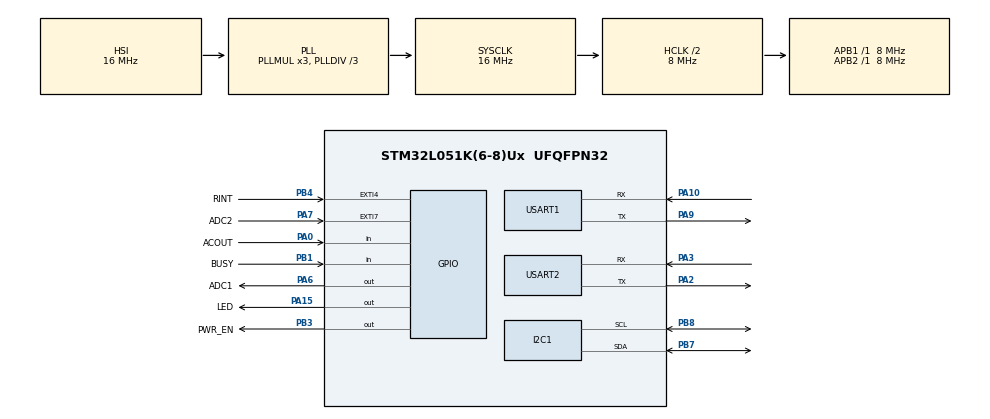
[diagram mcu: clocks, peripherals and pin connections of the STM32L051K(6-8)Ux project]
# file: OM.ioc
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Dma.Request0=USART2_RX
Dma.Request1=USART2_TX
Dma.Request2=USART1_RX
Dma.Request3=USART1_TX
Dma.USART1_RX.2.Direction=DMA_PERIPH_TO_MEMORY
Dma.USART1_RX.2.Instance=DMA1_Channel3
Dma.USART1_RX.2.MemDataAlignment=DMA_MDATAALIGN_BYTE
Dma.USART1_RX.2.MemInc=DMA_MINC_ENABLE
Dma.USART1_RX.2.Mode=DMA_NORMAL
Dma.USART1_RX.2.PeriphDataAlignment=DMA_PDATAALIGN_BYTE
Dma.USART1_RX.2.PeriphInc=DMA_PINC_DISABLE
Dma.USART1_RX.2.Priority=DMA_PRIORITY_LOW
Dma.USART1_TX.3.Direction=DMA_MEMORY_TO_PERIPH
Dma.USART1_TX.3.Instance=DMA1_Channel2
Dma.USART1_TX.3.MemDataAlignment=DMA_MDATAALIGN_BYTE
Dma.USART1_TX.3.MemInc=DMA_MINC_ENABLE
Dma.USART1_TX.3.Mode=DMA_NORMAL
Dma.USART1_TX.3.PeriphDataAlignment=DMA_PDATAALIGN_BYTE
Dma.USART1_TX.3.PeriphInc=DMA_PINC_DISABLE
Dma.USART1_TX.3.Priority=DMA_PRIORITY_LOW
Dma.USART2_RX.0.Direction=DMA_PERIPH_TO_MEMORY
Dma.USART2_RX.0.Instance=DMA1_Channel5
Dma.USART2_RX.0.MemDataAlignment=DMA_MDATAALIGN_BYTE
Dma.USART2_RX.0.MemInc=DMA_MINC_ENABLE
Dma.USART2_RX.0.Mode=DMA_NORMAL
Dma.USART2_RX.0.PeriphDataAlignment=DMA_PDATAALIGN_BYTE
Dma.USART2_RX.0.PeriphInc=DMA_PINC_DISABLE
Dma.USART2_RX.0.Priority=DMA_PRIORITY_LOW
Dma.USART2_TX.1.Direction=DMA_MEMORY_TO_PERIPH
Dma.USART2_TX.1.Instance=DMA1_Channel4
Dma.USART2_TX.1.MemDataAlignment=DMA_MDATAALIGN_BYTE
Dma.USART2_TX.1.MemInc=DMA_MINC_ENABLE
Dma.USART2_TX.1.Mode=DMA_NORMAL
Dma.USART2_TX.1.PeriphDataAlignment=DMA_PDATAALIGN_BYTE
Dma.USART2_TX.1.PeriphInc=DMA_PINC_DISABLE
Dma.USART2_TX.1.Priority=DMA_PRIORITY_LOW
I2C1.Timing=0x2000090E
Mcu.Family=STM32L0
Mcu.Name=STM32L051K(6-8)Ux
Mcu.Package=UFQFPN32
NVIC.DMA1_Channel2_3_IRQn=true\:0\:0\:false\:false\:true\:false\:true
NVIC.DMA1_Channel4_5_6_7_IRQn=true\:0\:0\:false\:false\:true\:false\:true
NVIC.EXTI4_15_IRQn=true\:0\:0\:false\:false\:true\:true\:true
NVIC.I2C1_IRQn=true\:0\:0\:false\:false\:true\:true\:true
NVIC.RTC_IRQn=true\:0\:0\:false\:false\:true\:true\:true
NVIC.TIM2_IRQn=true\:0\:0\:false\:false\:true\:true\:true
NVIC.USART1_IRQn=true\:0\:0\:false\:false\:true\:true\:true
NVIC.USART2_IRQn=true\:0\:0\:false\:false\:true\:true\:true
PA0.GPIO_Label=ACOUT
PA0.GPIO_PuPd=GPIO_NOPULL
PA0.Signal=GPIO_Input
PA10.Mode=Asynchronous
PA10.Signal=USART1_RX
PA13.Mode=Serial_Wire
PA13.Signal=SYS_SWDIO
PA14.Mode=Serial_Wire
PA14.Signal=SYS_SWCLK
PA15.GPIO_Label=LED
PA15.Signal=GPIO_Output
PA2.Mode=Asynchronous
PA2.Signal=USART2_TX
PA3.Mode=Asynchronous
PA3.Signal=USART2_RX
PA6.GPIO_Label=ADC1
PA6.Signal=GPIO_Output
PA7.GPIO_Label=ADC2
PA7.Signal=GPXTI7
PA9.Mode=Asynchronous
PA9.Signal=USART1_TX
PB1.GPIO_Label=BUSY
PB1.Signal=GPIO_Input
PB3.GPIO_Label=PWR_EN
PB3.Signal=GPIO_Output
PB4.GPIO_Label=RINT
PB4.Signal=GPXTI4
PB7.Mode=I2C
PB7.Signal=I2C1_SDA
PB8.Mode=I2C
PB8.Signal=I2C1_SCL
ProjectManager.HeapSize=0x200
ProjectManager.StackSize=0x400
ProjectManager.TargetToolchain=EWARM V8.32
RCC.AHBCLKDivider=RCC_SYSCLK_DIV2
RCC.AHBFreq_Value=8000000
RCC.APB1Freq_Value=8000000
RCC.APB1TimFreq_Value=8000000
RCC.APB2Freq_Value=8000000
RCC.APB2TimFreq_Value=8000000
RCC.HCLKFreq_Value=8000000
RCC.HSI16_VALUE=16000000
RCC.HSI_VALUE=16000000
RCC.LSE_VALUE=32768
RCC.MSI_VALUE=2097000
RCC.PLLDIV=RCC_PLLDIV_3
RCC.SYSCLKFreq_VALUE=16000000
RCC.SYSCLKSource=RCC_SYSCLKSOURCE_PLLCLK
RCC.VCOOutputFreq_Value=48000000
RTC.WakeUpClock=RTC_WAKEUPCLOCK_CK_SPRE_16BITS
RTC.WakeUpCounter=5
TIM2.Period=1000
TIM2.Prescaler=7999
USART1.VirtualMode-Asynchronous=VM_ASYNC
USART2.VirtualMode-Asynchronous=VM_ASYNC
VP_RTC_VS_RTC_Activate.Mode=RTC_Enabled
VP_RTC_VS_RTC_WakeUp_intern.Mode=WakeUp
VP_TIM2_VS_ClockSourceITR.Mode=TriggerSource_ITR0
board=custom

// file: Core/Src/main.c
/* USER CODE BEGIN Header */
/**
******************************************************************************
* @file           : main.c
* @brief          : Main program body
******************************************************************************
* @attention
*
* <h2><center>&copy; Copyright (c) 2021 STMicroelectronics.
* All rights reserved.</center></h2>
*
* This software component is licensed by ST under BSD 3-Clause license,
* the "License"; You may not use this file except in compliance with the
* License. You may obtain a copy of the License at:
*                        opensource.org/licenses/BSD-3-Clause
*
******************************************************************************
*/
/* USER CODE END Header */
#include "main.h"
#include "dma.h"
#include "i2c.h"
#include "rtc.h"
#include "tim.h"
#include "usart.h"
#include "gpio.h"

/* USER CODE BEGIN Includes */
#include "power.h"
#include "ml202.h"
#include "string.h"
#include "transfer.h"
/* USER CODE END Includes */

/* USER CODE BEGIN PV */
uint8_t Lora_EnterInto_power[14] = {0x24,0x50,0x41,0x52,0x41,0x00,0x07,0x0B,0x00,0x00,0x00,0x32,0x5E,0x43};
//static uint8_t status_cmd[10] = {0x24,0x50,0x41,0x52,0x41,0x00,0x03,0x09,0xF2,0x71};
uint8_t Send_Cmd_AT[2] = {0x41,0x54};
uint8_t Send_Cmd_AT_RUM[6] = {0x41,0x54,0x2B,0x52,0x55,0x4D};
uint8_t Send_Cmd_AT_RSYS[7] = {0x41,0x54,0x2B,0x52,0x53,0x59,0x53};
uint8_t Send_Cmd_AT_SMdata[9] = {0x41,0x54,0x2B,0x53,0x4D,0x64,0x61,0x74,0x61};

uint8_t Send_data_buffer[21] = {0xA9,0x2E,0x00,0x0C,0x00,0x01,0x20,0x20,0x00,0xC8,0x7A,0xB2,0x41,0x0C,0x00,0x04,0x6C,0x63,0x40,0x66,0x67};
uint8_t crc_buffer[19] = {0xA5,0xA1,0x01,0x8F,0xC2,0x75,0x3F,0x9E,0xEF,0xA7,0x3D,0x00,0x00,0xAA,0x42,0x0C,0xAE,0x01,0x02};
extern uint8_t Send_data_node[255];
extern uint8_t Outputbuffer_len;

uint8_t mlRecvBuff[11]="";
int timeout=0;
/* USER CODE END PV */

void SystemClock_Config(void);

/* USER CODE BEGIN 0 */
void Blink(int blinkCount,int period){
  for(int i=0;i<blinkCount;i++){
    HAL_GPIO_TogglePin(LED_GPIO_Port, LED_Pin);
    HAL_Delay(period);
  }
  HAL_GPIO_WritePin(LED_GPIO_Port, LED_Pin, GPIO_PIN_SET);
}

/*
int checkPack(uint8_t *buff, uint16_t len)
{

    if(len<74){
      return 1;
    }

    if(buff[0]==0xA5 && buff[73]==0x5A){
        return 0;
    }
    return 1;
}*/

int checkPack(uint8_t *buff, uint16_t len)
{

    if(len<28){
      return 1;
    }

    if(buff[0]==0xA5 && buff[27]==0x5A){
        return 0;
    }
    return 1;
}

unsigned char pBufOut[256];
/* USER CODE END 0 */

int main(void)
{
    HAL_Init();

    SystemClock_Config();

    /* Initialize all configured peripherals */
    MX_GPIO_Init();
    MX_DMA_Init();
    MX_I2C1_Init();
    MX_USART1_UART_Init();
    MX_RTC_Init();
    MX_USART2_UART_Init();
    MX_TIM2_Init();

    HAL_Delay(3000);
    //LowPowerConfig();

    while (1)
    {

      HAL_UART_Receive_DMA(&huart2, Usart2_Receive_t.Receive_pData, RECEIVE_LEN);
      if (Usart2_Receive_t.Receive_Flag)
      {
          uint8_t *str = Usart2_Receive_t.Receive_pData;

          while (Usart2_Receive_t.Receive_Len>27)
          {
              int res = checkPack(str, Usart2_Receive_t.Receive_Len);
              if(res == 0)
              {
                 //unsigned char sensorId[6] = {0xA9,0x2E,0x10,0x22,0xFF,0x02};
                 unsigned char bufOutLen = 0;
                 //unsigned char ret = transfer(sensorId, str, Usart2_Receive_t.Receive_Len, pBufOut, &bufOutLen);
                 unsigned char ret = transfer(str, Usart2_Receive_t.Receive_Len, pBufOut, &bufOutLen);
                 if(ret==0)
                 {
                     memset(Send_data_node, 0, sizeof(Send_data_node));
                     memcpy(Send_data_node, pBufOut, bufOutLen);
                     Outputbuffer_len = (uint8_t)bufOutLen;
                     HAL_UART_Receive_DMA(&huart2, Usart2_Receive_t.Receive_pData, RECEIVE_LEN);
                 }
              }
              str++;
              Usart2_Receive_t.Receive_Len--;
          }
      }

      if (Outputbuffer_len > 0)
      {
          HAL_UART_Transmit_DMA(&huart1, Send_data_node, Outputbuffer_len);
          HAL_Delay(100);
          HAL_UART_Transmit_DMA(&huart1, Lora_EnterInto_power, 14);
          HAL_Delay(100);

          Outputbuffer_len = 0;
          Blink(10,100);
          IntoStopModeWithRTC(60);
      }

    }
}

/*while (Usart2_Receive_t.Receive_Len>73)
{
  int res = checkPack(str, Usart2_Receive_t.Receive_Len);
  if(res == 0)
  {
     unsigned char sensorId[6] = {0xA9,0x2E,0x10,0x22,0xFF,0x02};
     unsigned char bufOutLen = 0;
     unsigned char ret = transfer(sensorId, str, Usart2_Receive_t.Receive_Len, pBufOut, &bufOutLen);
     if(ret==0)
     {
         memset(Send_data_node, 0, sizeof(Send_data_node));
         memcpy(Send_data_node, pBufOut, bufOutLen);
         Outputbuffer_len = (uint8_t)bufOutLen;
         HAL_UART_Receive_DMA(&huart2, Usart2_Receive_t.Receive_pData, RECEIVE_LEN);
     }

  }
  str++;
  Usart2_Receive_t.Receive_Len--;
}*/

void SystemClock_Config(void)
{
  RCC_OscInitTypeDef RCC_OscInitStruct = {0};
  RCC_ClkInitTypeDef RCC_ClkInitStruct = {0};
  RCC_PeriphCLKInitTypeDef PeriphClkInit = {0};

  /** Configure the main internal regulator output voltage
  */
  __HAL_PWR_VOLTAGESCALING_CONFIG(PWR_REGULATOR_VOLTAGE_SCALE1);
  /** Initializes the RCC Oscillators according to the specified parameters
  * in the RCC_OscInitTypeDef structure.
  */
  RCC_OscInitStruct.OscillatorType = RCC_OSCILLATORTYPE_HSI|RCC_OSCILLATORTYPE_LSI;
  RCC_OscInitStruct.HSIState = RCC_HSI_ON;
  RCC_OscInitStruct.HSICalibrationValue = RCC_HSICALIBRATION_DEFAULT;
  RCC_OscInitStruct.LSIState = RCC_LSI_ON;
  RCC_OscInitStruct.PLL.PLLState = RCC_PLL_ON;
  RCC_OscInitStruct.PLL.PLLSource = RCC_PLLSOURCE_HSI;
  RCC_OscInitStruct.PLL.PLLMUL = RCC_PLLMUL_3;
  RCC_OscInitStruct.PLL.PLLDIV = RCC_PLLDIV_3;
  if (HAL_RCC_OscConfig(&RCC_OscInitStruct) != HAL_OK)
  {
    Error_Handler();
  }
  /** Initializes the CPU, AHB and APB buses clocks
  */
  RCC_ClkInitStruct.ClockType = RCC_CLOCKTYPE_HCLK|RCC_CLOCKTYPE_SYSCLK
                              |RCC_CLOCKTYPE_PCLK1|RCC_CLOCKTYPE_PCLK2;
  RCC_ClkInitStruct.SYSCLKSource = RCC_SYSCLKSOURCE_PLLCLK;
  RCC_ClkInitStruct.AHBCLKDivider = RCC_SYSCLK_DIV2;
  RCC_ClkInitStruct.APB1CLKDivider = RCC_HCLK_DIV1;
  RCC_ClkInitStruct.APB2CLKDivider = RCC_HCLK_DIV1;

  if (HAL_RCC_ClockConfig(&RCC_ClkInitStruct, FLASH_LATENCY_0) != HAL_OK)
  {
    Error_Handler();
  }
  PeriphClkInit.PeriphClockSelection = RCC_PERIPHCLK_USART1|RCC_PERIPHCLK_USART2
                              |RCC_PERIPHCLK_I2C1|RCC_PERIPHCLK_RTC;
  PeriphClkInit.Usart1ClockSelection = RCC_USART1CLKSOURCE_PCLK2;
  PeriphClkInit.Usart2ClockSelection = RCC_USART2CLKSOURCE_PCLK1;
  PeriphClkInit.I2c1ClockSelection = RCC_I2C1CLKSOURCE_PCLK1;
  PeriphClkInit.RTCClockSelection = RCC_RTCCLKSOURCE_LSI;
  if (HAL_RCCEx_PeriphCLKConfig(&PeriphClkInit) != HAL_OK)
  {
    Error_Handler();
  }
}

void Error_Handler(void)
{
  __disable_irq();
  while (1)
  {
  }
}

/************************ (C) COPYRIGHT STMicroelectronics *****END OF FILE****/
